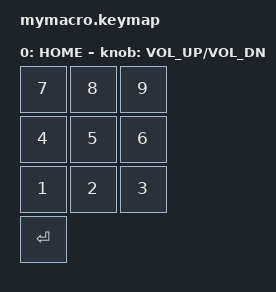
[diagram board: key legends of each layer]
#include <behaviors.dtsi>
#include <dt-bindings/zmk/keys.h>
#include <dt-bindings/zmk/bt.h>

/ {
    keymap {
        compatible = "zmk,keymap";

        default_layer {
            display-name = "HOME";
            bindings = <
                &kp N7    &kp N8    &kp N9
                &kp N4    &kp N5    &kp N6
                &kp N1    &kp N2    &kp N3
                &kp RET             /* Encoder Click */
            >;
            sensor-bindings = <&inc_dec_kp C_VOL_UP C_VOL_DN>;
        };
    };
};
